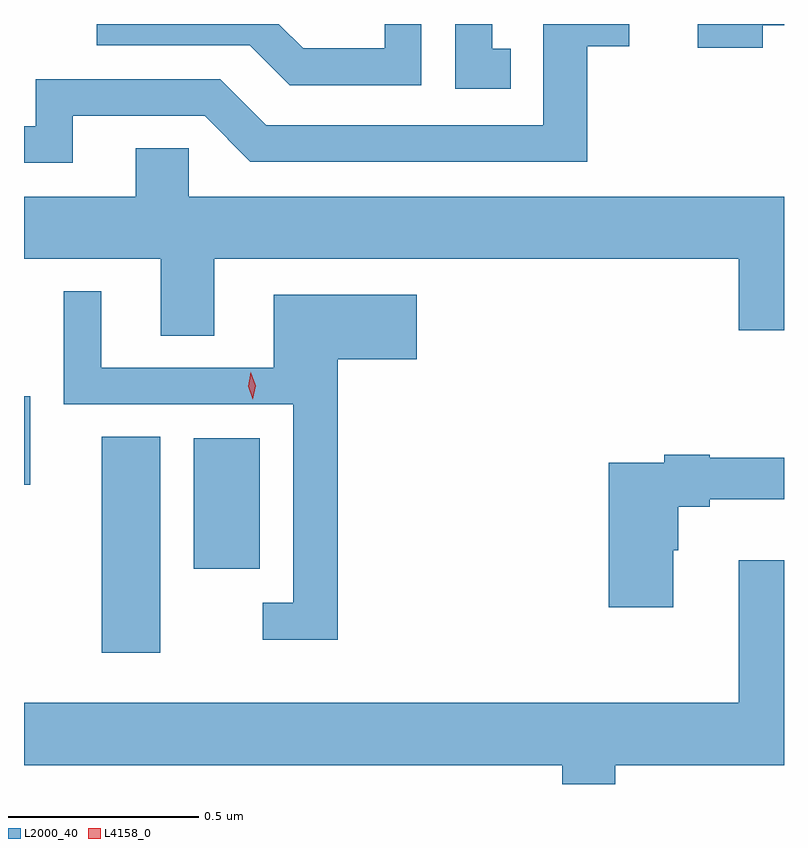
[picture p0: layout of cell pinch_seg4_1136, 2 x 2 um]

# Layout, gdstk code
import gdstk
lib = gdstk.Library(unit=1e-6, precision=1e-09)
def R(c, l, rs):  # rectangles x0, y0, x1, y1
    for r in rs: c.add(gdstk.rectangle(r[:2], r[2:], *l))
def P(c, l, *ps):  # polygons
    for p in ps: c.add(gdstk.Polygon(p, *l))
L2000_40 = (2000, 40)
L4158_0 = (4158, 0)

pinch_seg4_1136 = lib.new_cell('pinch_seg4_1136')
R(pinch_seg4_1136, L2000_40, [(427.067,802.443,427.222,803.012), (427.31,802.664,427.483,803.008), (426.863,802.886,426.88,803.119)])
P(pinch_seg4_1136, L2000_40, [(428.144,804.033),(428.095,804.033),(428.095,804.098),(427.998,804.098),(427.998,803.928),(428.144,803.928)],
  [(426.991,803.856),(427.338,803.856),(427.458,803.736),(428.345,803.736),(428.345,804.039),(428.456,804.039),(428.456,804.098),(428.229,804.098),(428.229,803.832),(427.5,803.832),(427.38,803.952),(426.894,803.952),(426.894,803.829),(426.863,803.829),(426.863,803.733),(426.991,803.733)],
  [(427.908,804.098),(427.812,804.098),(427.812,804.034),(427.598,804.034),(427.534,804.098),(427.054,804.098),(427.054,804.042),(427.457,804.042),(427.562,803.937),(427.908,803.937)],
  [(428.807,804.095),(428.863,804.095),(428.863,804.098),(428.636,804.098),(428.636,804.036),(428.807,804.036)],
  [(427.363,803.48),(428.744,803.48),(428.744,803.292),(428.863,803.292),(428.863,803.644),(427.296,803.644),(427.296,803.771),(427.157,803.771),(427.157,803.644),(426.863,803.644),(426.863,803.48),(427.223,803.48),(427.223,803.278),(427.363,803.278)],
  [(427.688,803.216),(427.897,803.216),(427.897,803.386),(427.52,803.386),(427.52,803.193),(427.066,803.193),(427.066,803.395),(426.968,803.395),(426.968,803.097),(427.572,803.097),(427.572,802.575),(427.491,802.575),(427.491,802.478),(427.688,802.478)],
  [(428.572,802.713),(428.585,802.713),(428.585,802.828),(428.668,802.828),(428.668,802.847),(428.863,802.847),(428.863,802.957),(428.668,802.957),(428.668,802.964),(428.548,802.964),(428.548,802.944),(428.402,802.944),(428.402,802.563),(428.572,802.563)],
  [(428.419,802.148),(428.863,802.148),(428.863,802.687),(428.744,802.687),(428.744,802.312),(426.863,802.312),(426.863,802.148),(428.279,802.148),(428.279,802.098),(428.419,802.098)])
P(pinch_seg4_1136, L4158_0, [(427.465,803.11),(427.465,803.11),(427.453,803.145),(427.46,803.182),(427.46,803.182),(427.46,803.182),(427.473,803.146),(427.465,803.11)])

lib.write_gds('pinch_seg4_1136.gds')
